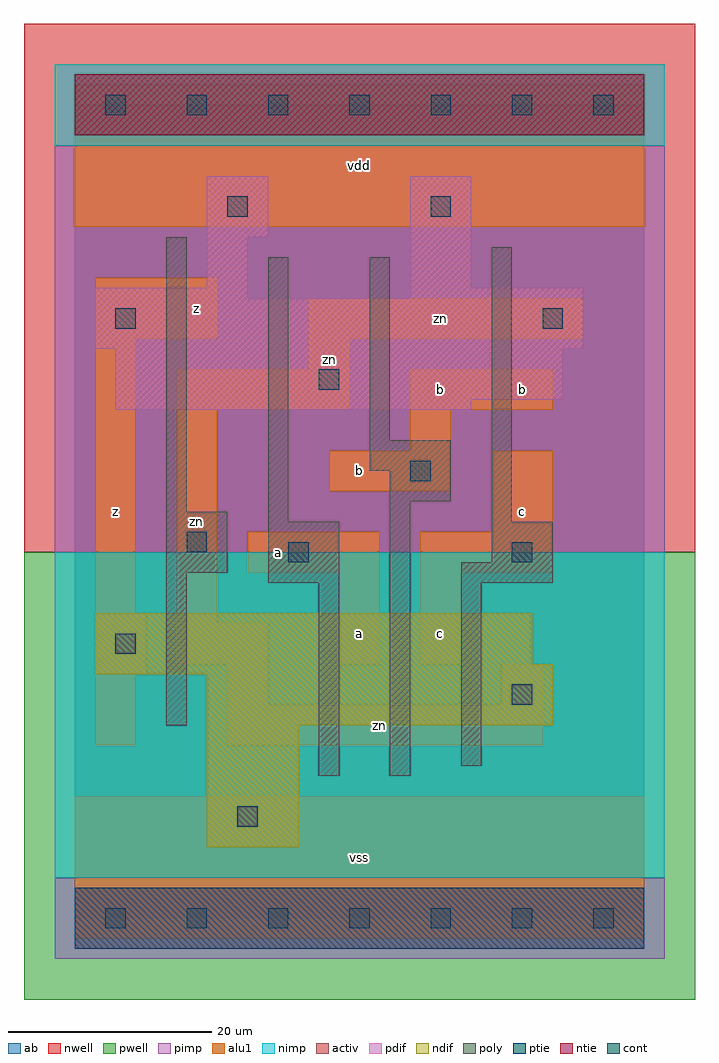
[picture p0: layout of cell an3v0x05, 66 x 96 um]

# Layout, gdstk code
import gdstk
lib = gdstk.Library(unit=1e-6, precision=1e-09)
def R(c, l, rs):  # rectangles x0, y0, x1, y1
    for r in rs: c.add(gdstk.rectangle(r[:2], r[2:], *l))
def A(c, l, x, y, w, h, nx, ny, dx, dy):  # array of equal rectangles
    R(c, l, [(x+i*dx, y+j*dy, x+i*dx+w, y+j*dy+h) for i in range(nx) for j in range(ny)])
ndif = (3, 0)
pdif = (4, 0)
ntie = (5, 0)
ptie = (6, 0)
cont = (25, 0)
pwell = (41, 0)
nwell = (42, 0)
activ = (43, 0)
pimp = (44, 0)
nimp = (45, 0)
poly = (46, 0)
alu1 = (49, 0)
ab = (63, 0)

an3v0x05 = lib.new_cell('an3v0x05')
R(an3v0x05, ndif, [(13,7,22,19), (13,19,47,24), (2,24,47,25), (2,25,45,30)])
R(an3v0x05, pdif, [(4,50,39,51), (4,51,48,56), (2,56,50,61), (2,61,17,62), (33,61,50,62), (13,62,17,67), (33,62,39,73), (13,67,19,73)])
R(an3v0x05, ntie, [(0,77,56,83)])
R(an3v0x05, ptie, [(0,-3,56,3)])
A(an3v0x05, cont, 3, -1, 2, 2, 7, 2, 8, 80)
R(an3v0x05, cont, [(16,9,18,11), (43,21,45,23), (4,26,6,28), (21,35,23,37), (43,35,45,37), (11,36,13,38), (33,43,35,45), (24,52,26,54), (4,58,6,60), (46,58,48,60), (15,69,17,71), (35,69,37,71)])
R(an3v0x05, pwell, [(-5,-8,61,36)])
R(an3v0x05, nwell, [(-5,36,61,88)])
R(an3v0x05, activ, [(0,-3,56,3), (13,7,22,19), (13,19,47,24), (2,24,47,25), (2,25,45,30), (4,50,39,51), (4,51,48,56), (2,56,50,61), (2,61,17,62), (33,61,50,62), (13,62,17,67), (33,62,39,73), (13,67,19,73), (0,77,56,83)])
R(an3v0x05, pimp, [(-2,-4,58,4), (-2,36,58,76)])
R(an3v0x05, nimp, [(-2,4,58,36), (-2,76,58,84)])
R(an3v0x05, poly, [(24,14,26,33), (31,14,33,41), (38,15,40,33), (9,19,11,34), (19,33,26,39), (38,33,47,35), (9,34,15,40), (41,35,47,39), (19,39,21,65), (41,39,43,66), (9,40,11,67), (31,41,37,44), (29,44,37,47), (29,47,31,65)])
R(an3v0x05, alu1, [(0,-2,56,12), (2,17,6,24), (15,17,46,21), (15,21,19,25), (42,21,46,25), (2,24,7,30), (10,25,19,29), (26,25,30,34), (34,25,38,34), (10,29,14,50), (2,30,6,57), (17,34,30,38), (34,34,47,38), (41,38,47,46), (25,42,37,46), (33,46,37,50), (10,50,27,54), (33,50,47,54), (23,54,27,57), (2,57,14,63), (23,57,50,61), (0,68,56,82)])
R(an3v0x05, ab, [(0,0,56,80)])
an3v0x05.add(gdstk.Label('zn', (12,39), layer=49, texttype=0))
an3v0x05.add(gdstk.Label('zn', (25,55), layer=49, texttype=0))
an3v0x05.add(gdstk.Label('zn', (30,19), layer=49, texttype=0))
an3v0x05.add(gdstk.Label('zn', (36,59), layer=49, texttype=0))
an3v0x05.add(gdstk.Label('z', (4,40), layer=49, texttype=0))
an3v0x05.add(gdstk.Label('a', (20,36), layer=49, texttype=0))
an3v0x05.add(gdstk.Label('z', (12,60), layer=49, texttype=0))
an3v0x05.add(gdstk.Label('vss', (28,6), layer=49, texttype=0))
an3v0x05.add(gdstk.Label('a', (28,28), layer=49, texttype=0))
an3v0x05.add(gdstk.Label('c', (36,28), layer=49, texttype=0))
an3v0x05.add(gdstk.Label('b', (28,44), layer=49, texttype=0))
an3v0x05.add(gdstk.Label('b', (36,52), layer=49, texttype=0))
an3v0x05.add(gdstk.Label('vdd', (28,74), layer=49, texttype=0))
an3v0x05.add(gdstk.Label('c', (44,40), layer=49, texttype=0))
an3v0x05.add(gdstk.Label('b', (44,52), layer=49, texttype=0))

lib.write_gds('an3v0x05.gds')
